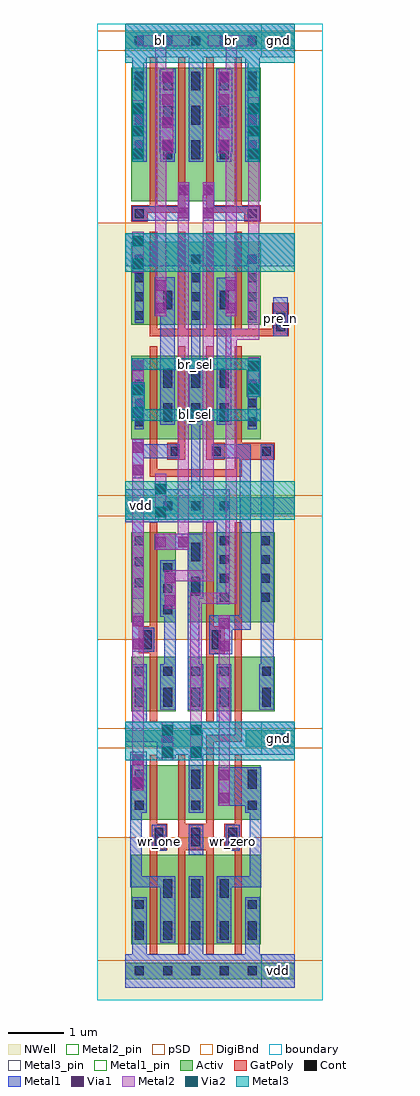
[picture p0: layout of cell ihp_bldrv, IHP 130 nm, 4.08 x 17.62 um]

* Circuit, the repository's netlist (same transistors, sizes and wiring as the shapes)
* ------------------------------------------------------
*
*		Copyright 2025 IHP PDK Authors
*
*		Licensed under the Apache License, Version 2.0 (the "License");
*		you may not use this file except in compliance with the License.
*		You may obtain a copy of the License at
*
*		   https://www.apache.org/licenses/LICENSE-2.0
*
*		Unless required by applicable law or agreed to in writing, software
*		distributed under the License is distributed on an "AS IS" BASIS,
*		WITHOUT WARRANTIES OR CONDITIONS OF ANY KIND, either express or implied.
*		See the License for the specific language governing permissions and
*		limitations under the License.
*
*		Generated on Thu Jul 30 11:38:32 2026
*
* ------------------------------------------------------
* Flattened from RM_IHPSG13_64x16_c2_1P_BLDRV; unchanged W/L/m.
.subckt ihp_bldrv br br_sel bl bl_sel pre_n sel_p wr_one wr_zero vdd gnd
Xinternal_XCDEC_MP1 internal_BLC_PMOS_DRIVE wr_zero vdd vdd sg13_lv_pmos w=1.62u l=130.00n m=1
Xinternal_XCDEC_MP0 internal_BLC_PMOS_DRIVE sel_p vdd vdd sg13_lv_pmos w=1.62u l=130.00n m=1
Xinternal_XCDEC_MN0 internal_BLC_PMOS_DRIVE wr_zero internal_XCDEC_net7 gnd sg13_lv_nmos w=980.00n l=130.00n m=1
Xinternal_XCDEC_MN1 internal_XCDEC_net7 sel_p gnd gnd sg13_lv_nmos w=980.00n l=130.00n m=1
Xinternal_XTDEC_MP1 internal_BLT_PMOS_DRIVE wr_one vdd vdd sg13_lv_pmos w=1.62u l=130.00n m=1
Xinternal_XTDEC_MP0 internal_BLT_PMOS_DRIVE sel_p vdd vdd sg13_lv_pmos w=1.62u l=130.00n m=1
Xinternal_XTDEC_MN0 internal_BLT_PMOS_DRIVE wr_one internal_XTDEC_net7 gnd sg13_lv_nmos w=980.00n l=130.00n m=1
Xinternal_XTDEC_MN1 internal_XTDEC_net7 sel_p gnd gnd sg13_lv_nmos w=980.00n l=130.00n m=1
Xinternal_MTWN bl internal_BLT_NMOS_DRIVE gnd gnd sg13_lv_nmos w=4.82u l=130.00n m=1
Xinternal_MCWN br internal_BLC_NMOS_DRIVE gnd gnd sg13_lv_nmos w=4.82u l=130.00n m=1
Xinternal_MCWP br internal_BLC_PMOS_DRIVE vdd vdd sg13_lv_pmos w=1.5u l=130.00n m=1
Xinternal_MTWP bl internal_BLT_PMOS_DRIVE vdd vdd sg13_lv_pmos w=1.5u l=130.00n m=1
Xinternal_MTSP bl_sel internal_SEL_N bl vdd sg13_lv_pmos w=1.5u l=130.00n m=1
Xinternal_MTPR bl pre_n vdd vdd sg13_lv_pmos w=3.000u l=130.00n m=1
Xinternal_MCSP br_sel internal_SEL_N br vdd sg13_lv_pmos w=1.5u l=130.00n m=1
Xinternal_MCPR br pre_n vdd vdd sg13_lv_pmos w=3.000u l=130.00n m=1
Xinternal_XI86_MN0 internal_SEL_N sel_p gnd gnd sg13_lv_nmos w=980.00n l=130.00n m=1
Xinternal_XI86_MP0 internal_SEL_N sel_p vdd vdd sg13_lv_pmos w=1.62u l=130.00n m=1
Xinternal_XTINV_MN0 internal_BLT_NMOS_DRIVE internal_BLC_PMOS_DRIVE gnd gnd sg13_lv_nmos w=980.00n l=130.00n m=1
Xinternal_XTINV_MP0 internal_BLT_NMOS_DRIVE internal_BLC_PMOS_DRIVE vdd vdd sg13_lv_pmos w=1.62u l=130.00n m=1
Xinternal_XCINV_MN0 internal_BLC_NMOS_DRIVE internal_BLT_PMOS_DRIVE gnd gnd sg13_lv_nmos w=980.00n l=130.00n m=1
Xinternal_XCINV_MP0 internal_BLC_NMOS_DRIVE internal_BLT_PMOS_DRIVE vdd vdd sg13_lv_pmos w=1.62u l=130.00n m=1
.ends ihp_bldrv

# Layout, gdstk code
import gdstk
lib = gdstk.Library(unit=1e-6, precision=1e-09)
def R(c, l, rs):  # rectangles x0, y0, x1, y1
    for r in rs: c.add(gdstk.rectangle(r[:2], r[2:], *l))
def A(c, l, x, y, w, h, nx, ny, dx, dy):  # array of equal rectangles
    R(c, l, [(x+i*dx, y+j*dy, x+i*dx+w, y+j*dy+h) for i in range(nx) for j in range(ny)])
def P(c, l, *ps):  # polygons
    for p in ps: c.add(gdstk.Polygon(p, *l))
Activ = (1, 0)
GatPoly = (5, 0)
Cont = (6, 0)
Metal1 = (8, 0)
Metal1_pin = (8, 2)
Metal2 = (10, 0)
Metal2_pin = (10, 2)
pSD = (14, 0)
DigiBnd = (16, 0)
Via1 = (19, 0)
Via2 = (29, 0)
Metal3 = (30, 0)
Metal3_pin = (30, 2)
NWell = (31, 0)
boundary = (189, 4)

ihp_bldrv = lib.new_cell('ihp_bldrv')
A(ihp_bldrv, Activ, 0.51, 0.375, 3.06, 0.3, 1, 3, 0, 8.4)
R(ihp_bldrv, Activ, [(0.615,1.005,2.955,2.625), (0.615,3.255,2.955,4.235), (0.51,4.575,1.905,4.875), (2.685,4.575,3.57,4.875), (0.615,5.215,1.425,6.195), (1.635,5.215,3.21,6.195), (0.615,6.825,1.425,8.445), (1.635,6.825,3.21,8.445), (0.615,10.13,2.955,11.63), (0.615,12.19,2.955,13.69), (0.615,14.425,2.955,16.835)])
P(ihp_bldrv, GatPoly, [(0.955,0.825),(0.955,4.425),(1.085,4.425),(1.085,3.185),(1.27,3.185),(1.27,2.705),(1.085,2.705),(1.085,0.825)],
  [(2.485,0.825),(2.485,2.705),(2.3,2.705),(2.3,3.185),(2.485,3.185),(2.485,4.425),(2.615,4.425),(2.615,0.825)],
  [(0.955,5.025),(0.955,6.265),(0.755,6.265),(0.755,6.745),(0.955,6.745),(0.955,8.625),(1.085,8.625),(1.085,5.025)],
  [(1.975,5.025),(1.975,8.625),(2.105,8.625),(2.105,6.745),(2.305,6.745),(2.305,6.265),(2.105,6.265),(2.105,5.025)],
  [(1.465,0.825),(1.465,4.425),(1.595,4.425),(1.595,3.185),(1.975,3.185),(1.975,4.79),(2.485,4.79),(2.485,8.625),(2.615,8.625),(2.615,4.66),(2.105,4.66),(2.105,0.825),(1.975,0.825),(1.975,2.705),(1.595,2.705),(1.595,0.825)],
  [(1.265,9.76),(1.265,10.06),(1.465,10.06),(1.465,11.81),(1.595,11.81),(1.595,9.76)],
  [(1.975,9.76),(1.975,11.81),(2.105,11.81),(2.105,10.06),(2.305,10.06),(2.305,9.76)],
  [(0.955,9.45),(0.955,11.81),(1.085,11.81),(1.085,9.58),(2.485,9.58),(2.485,11.81),(2.615,11.81),(2.615,10.06),(3.21,10.06),(3.21,9.76),(2.615,9.76),(2.615,9.45)],
  [(0.955,11.99),(0.955,13.87),(1.085,13.87),(1.085,12.12),(1.465,12.12),(1.465,13.87),(1.595,13.87),(1.595,12.12),(1.975,12.12),(1.975,13.87),(2.105,13.87),(2.105,12.12),(2.485,12.12),(2.485,13.87),(2.615,13.87),(2.615,12.12),(3.165,12.12),(3.165,12.59),(3.465,12.59),(3.465,11.99)],
  [(0.615,14.05),(0.615,14.35),(0.955,14.35),(0.955,17.025),(1.085,17.025),(1.085,14.35),(1.465,14.35),(1.465,17.025),(1.595,17.025),(1.595,14.22),(0.915,14.22),(0.915,14.05)],
  [(2.655,14.05),(2.655,14.22),(1.975,14.22),(1.975,17.025),(2.105,17.025),(2.105,14.35),(2.485,14.35),(2.485,17.025),(2.615,17.025),(2.615,14.35),(2.955,14.35),(2.955,14.05)])
A(ihp_bldrv, Cont, 0.685, 0.445, 0.16, 0.16, 6, 2, 0.51, 16.8)
A(ihp_bldrv, Cont, 0.685, 1.085, 0.16, 0.34, 5, 2, 0.51, 14.1)
A(ihp_bldrv, Cont, 1.195, 1.845, 0.16, 0.34, 3, 2, 0.51, 8.595)
A(ihp_bldrv, Cont, 1.04, 2.775, 0.16, 0.34, 3, 1, 0.665, 0)
A(ihp_bldrv, Cont, 0.685, 3.435, 0.16, 0.16, 3, 2, 1.02, 8.845)
A(ihp_bldrv, Cont, 0.685, 3.815, 0.16, 0.34, 3, 1, 1.02, 0)
A(ihp_bldrv, Cont, 0.685, 5.295, 0.16, 0.34, 4, 1, 0.51, 0)
A(ihp_bldrv, Cont, 0.685, 5.855, 0.16, 0.16, 4, 2, 0.51, 2.99)
A(ihp_bldrv, Cont, 1.195, 6.97, 0.16, 0.16, 1, 3, 0, 0.38)
A(ihp_bldrv, Cont, 2.215, 7.195, 0.16, 0.16, 1, 4, 0, 0.34)
A(ihp_bldrv, Cont, 2.96, 7.195, 0.16, 0.16, 1, 4, 0, 0.34)
A(ihp_bldrv, Cont, 0.685, 7.455, 0.16, 0.16, 1, 3, 0, 0.38)
A(ihp_bldrv, Cont, 0.685, 10.36, 0.16, 0.16, 1, 4, 0, 0.34)
A(ihp_bldrv, Cont, 2.725, 10.36, 0.16, 0.16, 1, 4, 0, 0.34)
A(ihp_bldrv, Cont, 1.195, 11.06, 0.16, 0.34, 3, 1, 0.51, 0)
A(ihp_bldrv, Cont, 0.685, 12.62, 0.16, 0.16, 3, 3, 1.02, 0.34)
A(ihp_bldrv, Cont, 0.685, 15.805, 0.16, 0.34, 5, 2, 0.51, 0.62)
R(ihp_bldrv, Cont, [(0.685,1.645,0.845,1.805), (2.725,1.645,2.885,1.805), (1.195,4.645,1.355,4.805), (3.235,4.645,3.395,4.805), (2.98,5.295,3.14,5.635), (2.98,5.855,3.14,6.015), (0.825,6.335,0.985,6.675), (2.075,6.335,2.235,6.675), (1.705,7.3,1.865,7.64), (1.705,7.92,1.865,8.26), (1.335,9.83,1.495,9.99), (2.075,9.83,2.235,9.99), (2.98,9.83,3.14,9.99), (3.235,12.075,3.395,12.415), (1.195,12.47,1.355,12.81), (2.215,12.47,2.375,12.81), (0.685,14.12,0.845,14.28), (2.725,14.12,2.885,14.28)])
A(ihp_bldrv, Metal1, 0.635, 15.135, 0.26, 1.89, 3, 1, 1.02, 0)
R(ihp_bldrv, Metal1, [(0.51,0.225,3.57,0.825), (0.635,0.825,0.895,1.855), (1.655,0.825,1.915,2.235), (2.675,0.825,2.935,1.855), (1.145,1.035,1.41,2.035), (2.16,1.035,2.425,2.035), (0.6,2.035,1.41,2.235), (2.16,2.035,2.97,2.235), (0.6,2.235,0.81,3.385), (2.76,2.235,2.97,3.385), (1.655,2.625,1.915,3.165), (0.99,2.695,1.25,3.165), (2.32,2.695,2.58,3.165), (0.6,3.385,0.895,4.485), (1.655,3.385,1.915,4.425), (2.675,3.385,2.97,3.505), (2.19,3.505,2.97,4.205), (1.075,4.365,1.42,4.425), (1.075,4.425,3.57,4.665), (0.51,4.665,3.57,5.025), (0.635,5.025,0.895,6.065), (2.165,5.025,2.425,6.065), (1.145,5.245,1.425,6.065), (1.635,5.245,1.915,6.065), (2.93,5.245,3.19,6.065), (1.215,6.065,1.425,6.92), (1.635,6.065,1.845,7.25), (2.955,6.065,3.19,10.04), (2.025,6.245,2.44,6.685), (0.635,6.285,1.035,6.725), (2.025,6.685,2.775,6.945), (0.635,6.725,0.845,6.985), (1.145,6.92,1.425,7.94), (2.58,6.945,2.775,9.78), (2.165,7.145,2.4,8.625), (0.635,7.25,0.845,8.625), (1.635,7.25,1.915,8.13), (1.045,8.13,1.915,8.42), (0.51,8.625,2.4,9.225), (1.045,9.225,1.255,9.37), (1.705,9.225,1.865,10.39), (0.635,9.425,0.845,9.78), (0.635,9.78,1.495,10.04), (2.075,9.78,2.775,10.04), (0.635,10.04,0.845,10.125), (0.685,10.31,0.845,10.89), (2.725,10.31,2.885,10.89), (1.145,10.39,1.405,12.35), (1.655,10.39,1.915,11.45), (2.165,10.39,2.425,12.35), (0.635,10.89,0.845,11.59), (2.725,10.89,2.935,11.59), (1.705,11.45,1.865,13.25), (3.185,11.99,3.445,12.69), (0.685,12.23,0.845,13.15), (2.725,12.23,2.885,13.25), (1.045,12.35,1.405,13.05), (2.165,12.35,2.525,13.045), (2.315,13.045,2.525,13.05), (0.635,13.15,0.845,13.25), (0.51,13.25,3.57,13.85), (0.635,14.07,1.665,14.33), (1.905,14.07,2.935,14.33), (1.455,14.33,1.665,14.77), (1.905,14.33,2.115,14.77), (1.145,15.135,1.405,15.295), (2.165,15.135,2.425,15.295), (1.13,15.295,1.42,16.815), (2.15,15.295,2.44,16.815), (0.51,17.025,3.57,17.625)])
A(ihp_bldrv, Metal1_pin, 0.99, 2.725, 0.26, 0.26, 3, 1, 0.665, 0)
R(ihp_bldrv, Metal1_pin, [(2.97,0.225,3.57,0.825), (2.97,4.425,3.57,5.025), (0.511,8.625,1.111,9.225), (3.185,12.175,3.445,12.435), (2.97,17.025,3.57,17.625)])
R(ihp_bldrv, Metal2, [(2.195,3.505,2.395,6.945), (0.64,3.785,0.84,10.125), (1.17,4.325,1.38,5.025), (1.68,4.325,1.89,7.155), (1.22,7.065,1.42,7.565), (1.68,7.155,2.52,7.355), (2.32,7.355,2.52,11.925), (1.22,7.565,2.11,7.765), (1.91,7.765,2.11,14.77), (1.05,8.13,1.66,8.42), (1.46,8.42,1.66,14.77), (1.05,8.67,1.25,9.505), (0.64,10.46,0.84,11.59), (2.73,10.89,2.93,11.61), (2.32,11.925,2.93,12.125), (2.73,12.125,2.93,16.305), (1.05,12.35,1.25,15.295), (2.32,12.35,2.52,15.295), (0.64,13.13,0.84,13.87), (0.64,15.135,0.84,16.245), (1.05,15.295,1.375,16.815), (2.195,15.295,2.52,16.815), (1.05,16.815,1.25,17.225), (2.32,16.815,2.52,17.225), (0.73,17.225,1.665,17.425), (2,17.225,2.84,17.425)])
R(ihp_bldrv, Metal2_pin, [(1.05,17.225,1.25,17.425), (2.32,17.225,2.52,17.425)])
R(ihp_bldrv, pSD, [(0,0.705,4.08,2.94), (0,4.545,4.08,4.905), (0,6.51,4.08,8.745), (0,9.105,4.08,14.04), (0,17.145,4.08,17.505)])
R(ihp_bldrv, DigiBnd, [(0.51,0.375,3.57,17.475)])
A(ihp_bldrv, Via1, 0.645, 15.185, 0.19, 0.19, 1, 3, 0, 0.41)
A(ihp_bldrv, Via1, 2.735, 15.185, 0.19, 0.19, 1, 3, 0, 0.41)
A(ihp_bldrv, Via1, 1.18, 15.345, 0.19, 0.19, 1, 4, 0, 0.41)
A(ihp_bldrv, Via1, 2.2, 15.345, 0.19, 0.19, 1, 4, 0, 0.41)
R(ihp_bldrv, Via1, [(2.2,3.555,2.39,3.745), (0.645,3.835,0.835,4.025), (2.2,3.965,2.39,4.155), (0.645,4.245,0.835,4.435), (1.18,4.375,1.37,4.565), (1.69,4.375,1.88,4.565), (1.18,4.785,1.37,4.975), (1.69,4.785,1.88,4.975), (2.2,6.295,2.39,6.485), (0.645,6.335,0.835,6.525), (2.2,6.705,2.39,6.895), (0.645,6.745,0.835,6.935), (1.225,7.115,1.415,7.305), (1.225,7.525,1.415,7.715), (1.055,8.18,1.245,8.37), (1.465,8.18,1.655,8.37), (1.055,8.72,1.245,8.91), (1.055,9.13,1.245,9.32), (0.645,9.475,0.835,9.665), (0.645,9.885,0.835,10.075), (0.645,10.94,0.835,11.13), (2.735,10.94,2.925,11.13), (0.645,11.35,0.835,11.54), (2.735,11.35,2.925,11.54), (1.055,12.4,1.245,12.59), (2.325,12.4,2.515,12.59), (1.055,12.81,1.245,13), (2.325,12.81,2.515,13), (0.645,13.2,0.835,13.39), (0.645,13.61,0.835,13.8), (1.465,14.12,1.655,14.31), (1.915,14.12,2.105,14.31), (1.465,14.53,1.655,14.72), (1.915,14.53,2.105,14.72)])
A(ihp_bldrv, Via2, 0.645, 15.185, 0.19, 0.19, 1, 3, 0, 0.41)
A(ihp_bldrv, Via2, 2.735, 15.185, 0.19, 0.19, 1, 3, 0, 0.41)
R(ihp_bldrv, Via2, [(1.18,4.375,1.37,4.565), (1.69,4.375,1.88,4.565), (1.18,4.785,1.37,4.975), (1.69,4.785,1.88,4.975), (1.055,8.72,1.245,8.91), (1.055,9.13,1.245,9.32), (0.645,10.51,0.835,10.7), (0.645,10.92,0.835,11.11), (2.735,10.94,2.925,11.13), (2.735,11.35,2.925,11.54), (0.645,13.2,0.835,13.39), (0.645,13.61,0.835,13.8)])
R(ihp_bldrv, Metal3, [(0.51,4.325,3.57,5.025), (0.51,8.67,3.57,9.37), (0.615,10.46,2.955,10.67), (0.615,10.67,0.865,11.16), (2.705,10.89,2.955,11.38), (0.615,11.38,2.955,11.59), (0.51,13.15,3.57,13.85), (0.635,15.135,0.845,16.925), (2.725,15.135,2.935,16.925), (0.51,16.925,3.57,17.625)])
R(ihp_bldrv, Metal3_pin, [(1.655,10.46,1.915,10.67), (1.655,11.38,1.915,11.59)])
R(ihp_bldrv, NWell, [(0,0,4.08,2.94), (0,6.51,4.08,14.04)])
R(ihp_bldrv, boundary, [(0,0,4.08,17.625)])
ihp_bldrv.add(gdstk.Label('vdd', (0.811,8.925), layer=8, texttype=25))
ihp_bldrv.add(gdstk.Label('gnd', (3.27,17.325), layer=8, texttype=25))
ihp_bldrv.add(gdstk.Label('gnd', (3.27,4.725), layer=8, texttype=25))
ihp_bldrv.add(gdstk.Label('vdd', (3.27,0.525), layer=8, texttype=25))
ihp_bldrv.add(gdstk.Label('pre_n', (3.315,12.305), layer=8, texttype=25))
ihp_bldrv.add(gdstk.Label('wr_zero', (2.45,2.855), layer=8, texttype=25))
ihp_bldrv.add(gdstk.Label('wr_one', (1.12,2.855), layer=8, texttype=25))
ihp_bldrv.add(gdstk.Label('sel_p', (1.785,2.855), layer=8, texttype=25))
ihp_bldrv.add(gdstk.Label('br', (2.42,17.325), layer=10, texttype=25))
ihp_bldrv.add(gdstk.Label('bl', (1.15,17.325), layer=10, texttype=25))
ihp_bldrv.add(gdstk.Label('br_sel', (1.785,11.485), layer=30, texttype=25))
ihp_bldrv.add(gdstk.Label('bl_sel', (1.785,10.565), layer=30, texttype=25))

lib.write_gds('ihp_bldrv.gds')
